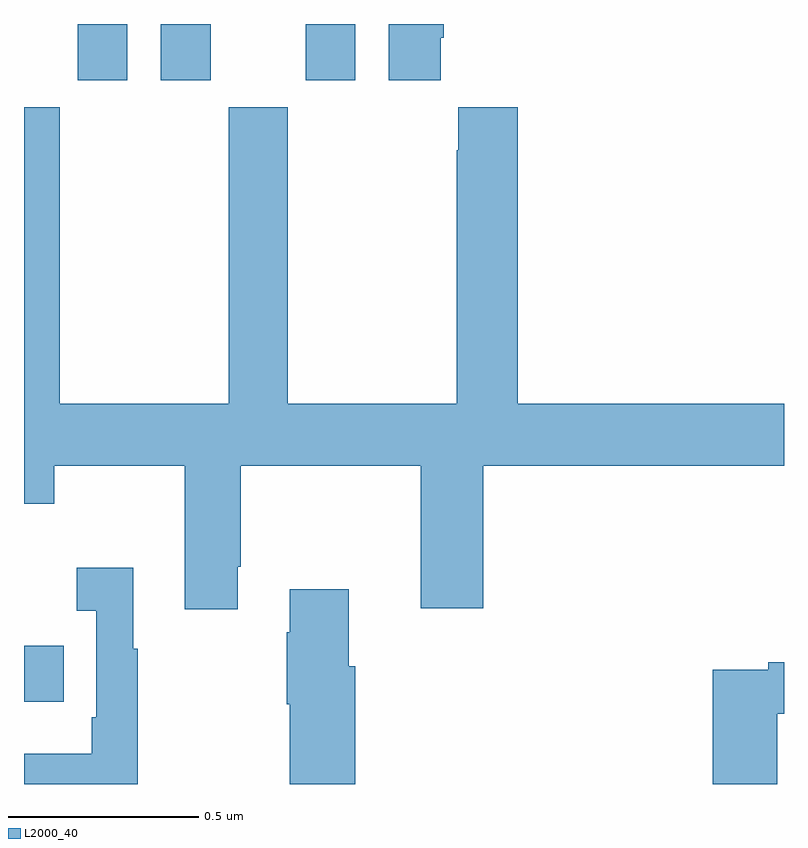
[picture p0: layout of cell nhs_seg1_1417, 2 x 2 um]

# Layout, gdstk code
import gdstk
lib = gdstk.Library(unit=1e-6, precision=1e-09)
def R(c, l, rs):  # rectangles x0, y0, x1, y1
    for r in rs: c.add(gdstk.rectangle(r[:2], r[2:], *l))
def P(c, l, *ps):  # polygons
    for p in ps: c.add(gdstk.Polygon(p, *l))
L2000_40 = (2000, 40)

nhs_seg1_1417 = lib.new_cell('nhs_seg1_1417')
R(nhs_seg1_1417, L2000_40, [(128,580.415,128.105,580.563), (128.141,582.051,128.272,582.199), (128.36,582.051,128.491,582.199), (128.741,582.051,128.872,582.199)])
P(nhs_seg1_1417, L2000_40, [(129.097,582.163),(129.104,582.163),(129.104,582.199),(128.96,582.199),(128.96,582.051),(129.097,582.051)],
  [(128.563,580.771),(128.571,580.771),(128.571,581.036),(129.044,581.036),(129.044,580.662),(129.208,580.662),(129.208,581.036),(130,581.036),(130,581.2),(129.299,581.2),(129.299,581.98),(129.143,581.98),(129.143,581.867),(129.139,581.867),(129.139,581.2),(128.694,581.2),(128.694,581.98),(128.539,581.98),(128.539,581.2),(128.094,581.2),(128.094,581.98),(128,581.98),(128,580.937),(128.079,580.937),(128.079,581.036),(128.423,581.036),(128.423,580.659),(128.563,580.659)],
  [(128.299,580.555),(128.287,580.555),(128.287,580.768),(128.139,580.768),(128.139,580.655),(128.19,580.655),(128.19,580.375),(128.178,580.375),(128.178,580.279),(128,580.279),(128,580.199),(128.299,580.199)],
  [(128.872,580.509),(128.854,580.509),(128.854,580.711),(128.699,580.711),(128.699,580.598),(128.692,580.598),(128.692,580.409),(128.699,580.409),(128.699,580.199),(128.872,580.199)],
  [(129.982,580.384),(130,580.384),(130,580.52),(129.958,580.52),(129.958,580.5),(129.812,580.5),(129.812,580.199),(129.982,580.199)])

lib.write_gds('nhs_seg1_1417.gds')
